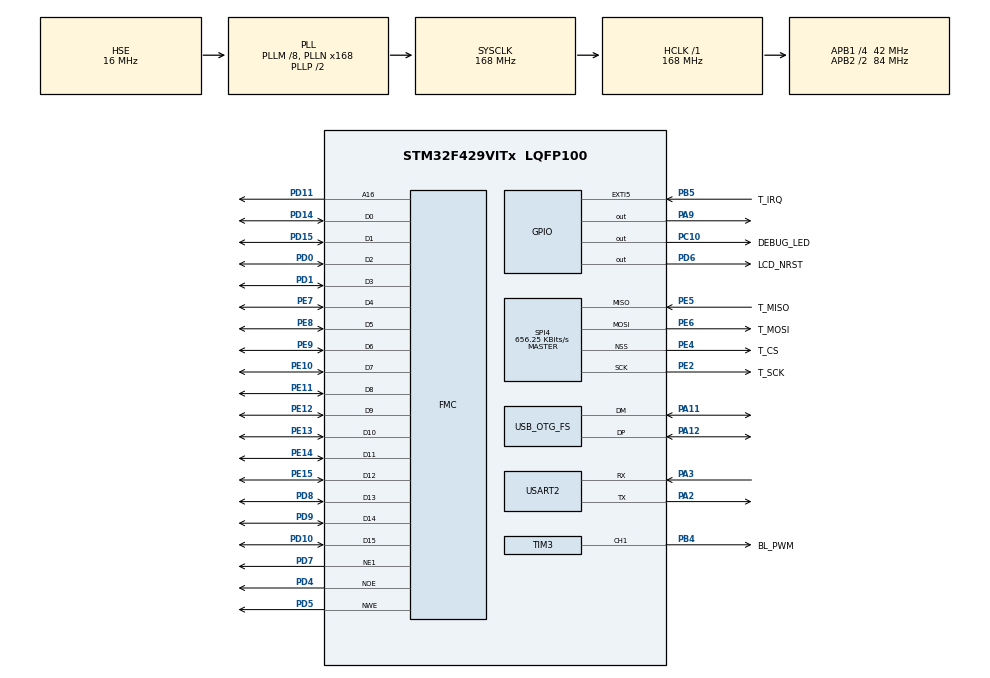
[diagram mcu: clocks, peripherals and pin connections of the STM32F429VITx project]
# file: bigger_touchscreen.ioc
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FMC.AddressSetupTime1=3
FMC.BusTurnAroundDuration1=2
FMC.DataSetupTime1=2
Mcu.Family=STM32F4
Mcu.Name=STM32F429VITx
Mcu.Package=LQFP100
NVIC.EXTI9_5_IRQn=true\:0\:0\:false\:false\:true\:true\:true\:true
NVIC.OTG_FS_IRQn=true\:0\:0\:false\:false\:true\:false\:true\:true
NVIC.PriorityGroup=NVIC_PRIORITYGROUP_4
PA11.Mode=Host_Only
PA11.Signal=USB_OTG_FS_DM
PA12.Mode=Host_Only
PA12.Signal=USB_OTG_FS_DP
PA13.Mode=Trace_Asynchronous_SW
PA13.Signal=SYS_JTMS-SWDIO
PA14.Mode=Trace_Asynchronous_SW
PA14.Signal=SYS_JTCK-SWCLK
PA2.Mode=Asynchronous
PA2.Signal=USART2_TX
PA3.Mode=Asynchronous
PA3.Signal=USART2_RX
PA9.Signal=GPIO_Output
PB12.Signal=SPI2_NSS
PB13.Signal=SPI2_SCK
PB14.Signal=SPI2_MISO
PB15.Signal=SPI2_MOSI
PB3.Mode=Trace_Asynchronous_SW
PB3.Signal=SYS_JTDO-SWO
PB4.GPIO_Label=BL_PWM
PB4.Signal=S_TIM3_CH1
PB5.GPIO_Label=T_IRQ
PB5.Signal=GPXTI5
PC10.GPIO_Label=DEBUG_LED
PC10.Signal=GPIO_Output
PD0.Mode=16b-d1
PD0.Signal=FMC_D2
PD1.Mode=16b-d1
PD1.Signal=FMC_D3
PD10.Mode=16b-d1
PD10.Signal=FMC_D15
PD11.Mode=A16_1
PD11.Signal=FMC_A16
PD14.Mode=16b-d1
PD14.Signal=FMC_D0
PD15.Mode=16b-d1
PD15.Signal=FMC_D1
PD4.Mode=Lcd1
PD4.Signal=FMC_NOE
PD5.Mode=Lcd1
PD5.Signal=FMC_NWE
PD6.GPIO_Label=LCD_NRST
PD6.Signal=GPIO_Output
PD7.Mode=NorPsramChipSelect1_1
PD7.Signal=FMC_NE1
PD8.Mode=16b-d1
PD8.Signal=FMC_D13
PD9.Mode=16b-d1
PD9.Signal=FMC_D14
PE10.Mode=16b-d1
PE10.Signal=FMC_D7
PE11.Mode=16b-d1
PE11.Signal=FMC_D8
PE12.Mode=16b-d1
PE12.Signal=FMC_D9
PE13.Mode=16b-d1
PE13.Signal=FMC_D10
PE14.Mode=16b-d1
PE14.Signal=FMC_D11
PE15.Mode=16b-d1
PE15.Signal=FMC_D12
PE2.GPIO_Label=T_SCK
PE2.Mode=Full_Duplex_Master
PE2.Signal=SPI4_SCK
PE4.GPIO_Label=T_CS
PE4.Mode=NSS_Signal_Hard_Output
PE4.Signal=SPI4_NSS
PE5.GPIO_Label=T_MISO
PE5.Mode=Full_Duplex_Master
PE5.Signal=SPI4_MISO
PE6.GPIO_Label=T_MOSI
PE6.Mode=Full_Duplex_Master
PE6.Signal=SPI4_MOSI
PE7.Mode=16b-d1
PE7.Signal=FMC_D4
PE8.Mode=16b-d1
PE8.Signal=FMC_D5
PE9.Mode=16b-d1
PE9.Signal=FMC_D6
PH0/OSC_IN.Mode=HSE-External-Oscillator
PH0/OSC_IN.Signal=RCC_OSC_IN
PH1/OSC_OUT.Mode=HSE-External-Oscillator
PH1/OSC_OUT.Signal=RCC_OSC_OUT
ProjectManager.HeapSize=0x200
ProjectManager.StackSize=0x400
ProjectManager.TargetToolchain=STM32CubeIDE
RCC.48MHZClocksFreq_Value=48000000
RCC.AHBFreq_Value=168000000
RCC.APB1CLKDivider=RCC_HCLK_DIV4
RCC.APB1Freq_Value=42000000
RCC.APB1TimFreq_Value=84000000
RCC.APB2CLKDivider=RCC_HCLK_DIV2
RCC.APB2Freq_Value=84000000
RCC.APB2TimFreq_Value=168000000
RCC.CortexFreq_Value=168000000
RCC.HCLKFreq_Value=168000000
RCC.HSE_VALUE=16000000
RCC.HSI_VALUE=16000000
RCC.LSE_VALUE=32768
RCC.PLLM=8
RCC.PLLN=168
RCC.PLLQ=7
RCC.SYSCLKFreq_VALUE=168000000
RCC.SYSCLKSource=RCC_SYSCLKSOURCE_PLLCLK
RCC.VCOOutputFreq_Value=336000000
SH.S_TIM3_CH1.0=TIM3_CH1,PWM Generation1 CH1
SPI4.BaudRatePrescaler=SPI_BAUDRATEPRESCALER_128
SPI4.CalculateBaudRate=656.25 KBits/s
SPI4.Direction=SPI_DIRECTION_2LINES
SPI4.Mode=SPI_MODE_MASTER
SPI4.VirtualNSS=VM_NSSHARD
SPI4.VirtualType=VM_MASTER
TIM3.Channel-PWM\ Generation1\ CH1=TIM_CHANNEL_1
TIM3.Period=100
TIM3.Prescaler=168-1
USART2.VirtualMode=VM_ASYNC
USB_HOST.BSP.number=1
USB_HOST.SW_VBUS_DRIVE_HID_FS=false
USB_HOST.USBH_DEBUG_LEVEL-HID_FS=3
USB_HOST.USBH_HandleTypeDef-HID_FS=hUsbHostFS
USB_HOST.VirtualModeFS=Hid
USB_HOST0.BSP.STBoard=false
USB_HOST0.BSP.api=Unknown
USB_HOST0.BSP.condition=SW_VBUS_DRIVE_HID_FS \= false
USB_HOST0.BSP.instance=PA9
USB_HOST0.BSP.ip=GPIO
USB_HOST0.BSP.mode=Output
USB_HOST0.BSP.name=Drive_VBUS_FS
USB_HOST0.BSP.solution=PA9
USB_OTG_FS.VirtualMode=Host_Only
USB_OTG_FS.phy_itface=HCD_PHY_EMBEDDED
VP_USB_HOST_VS_USB_HOST_HID_FS.Mode=HID_FS
board=custom

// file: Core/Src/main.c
/* USER CODE BEGIN Header */
/**
 ******************************************************************************
 * @file           : main.c
 * @brief          : Main program body
 ******************************************************************************
 * @attention
 *
 * Copyright (c) 2025 STMicroelectronics.
 * All rights reserved.
 *
 * This software is licensed under terms that can be found in the LICENSE file
 * in the root directory of this software component.
 * If no LICENSE file comes with this software, it is provided AS-IS.
 *
 ******************************************************************************
 */
/* USER CODE END Header */
#include "main.h"
#include "usb_host.h"

/* USER CODE BEGIN Includes */
#include "usbh_hid.h"
#include "stdio.h"
#include "ili9341.h"
#include "XPT2046_touch.h"
/* USER CODE END Includes */

/* USER CODE BEGIN PD */
/**** TOUCHSCREEN DEFINITIONS *****/
#define TS_LEFT 0
#define TS_RIGHT 320
#define TS_TOP 0
#define TS_BOT 240

/***** USB DEFINITIONS *****/
#define NULL_CHAR 0
#define SOH 1
#define NEWLINE_CHAR 10   //the '/r' in python is detected as a newline (10).
#define CARRIAGE_CHAR 13  //the '\n' is just ignored
#define TAB 9
#define TRASH 0xFF

/******** Flash Memory ********/
#define SECTOR_5      ((uint32_t)0x08020000) /* Base @ of Sector 5, 128 Kbytes */
#define SECTOR_6      ((uint32_t)0x08040000) /* Base @ of Sector 6, 128 Kbytes */
#define SECTOR_7      ((uint32_t)0x08060000) /* Base @ of Sector 7, 128 Kbytes */
#define SECTOR_8      ((uint32_t)0x08080000) /* Base @ of Sector 8, 128 Kbytes */
#define SECTOR_9      ((uint32_t)0x080A0000) /* Base @ of Sector 9, 128 Kbytes */
#define SECTOR_10     ((uint32_t)0x080C0000) /* Base @ of Sector 10, 128 Kbytes */
#define SECTOR_11     ((uint32_t)0x080E0000) /* Base @ of Sector 11, 128 Kbytes */
#define SECTOR_17     ((uint32_t)0x08120000) /* Base @ of Sector 5, 128 Kbytes */
#define SECTOR_18     ((uint32_t)0x08140000) /* Base @ of Sector 6, 128 Kbytes */
#define SECTOR_19     ((uint32_t)0x08160000) /* Base @ of Sector 7, 128 Kbytes */
#define SECTOR_20     ((uint32_t)0x08180000) /* Base @ of Sector 8, 128 Kbytes  */
#define SECTOR_21     ((uint32_t)0x081A0000) /* Base @ of Sector 9, 128 Kbytes  */
#define SECTOR_22     ((uint32_t)0x081C0000) /* Base @ of Sector 10, 128 Kbytes */
#define SECTOR_23     ((uint32_t)0x081E0000) /* Base @ of Sector 11, 128 Kbytes */

/***** FLASH MEMORY DEFINITIONS *****/
#define NUMBER_OF_SECTORS 14
#define MAX_PROTOCOLS_IN_SECTOR 3
#define PROTOCOL_SIZE 6000
#define MAX_LINES 200
#define MAX_LINE_LENGTH 32 //for linear movement it wont be more than 32 chars
#define MAX_TITLE_SIZE 12  //you can 10 chars, but also we need newline and null

/******** LCD DISPLAY DEFINITIONS ********/
#define BUTTON_WIDTH 160
#define BUTTON_HEIGHT 40
#define NUM_BUTTONS 3
#define Y_OFFSET 20
#define SCREEN_DELAY 50
#define MAX_QUEUE_SIZE 10

/* USER CODE END PD */

SPI_HandleTypeDef hspi4;

TIM_HandleTypeDef htim3;

UART_HandleTypeDef huart2;

SRAM_HandleTypeDef hsram1;

/* USER CODE BEGIN PV */

typedef enum {
	PAGE_MAIN, PAGE_SELECT, PAGE_QUEUE, PAGE_CONFIRMATION, PAGE_FINISH
} PageState;
PageState currentPage = PAGE_MAIN;

typedef enum {
	EMPTY = 0, NOT_EMPTY = 1
} ButtonStatus;

typedef struct {
	uint16_t x, y, w, h;
	char label[MAX_LINE_LENGTH];
	ButtonStatus status;
} Button;

Button buttons[NUM_BUTTONS] = { { 80, 50, BUTTON_WIDTH, BUTTON_HEIGHT,
		"Protocol 1", EMPTY }, { 80, 110, BUTTON_WIDTH, BUTTON_HEIGHT,
		"Protocol 2", EMPTY }, { 80, 170, BUTTON_WIDTH, BUTTON_HEIGHT,
		"Protocol 3", EMPTY } };

Button queueButton = { 240, 0, 80, 30, "Queue" }; //x, y, w, h, label
Button runButton = { 260, 200, 60, 40, "Run" };
Button confirmButton = { 100, 120, 120, 40, "Confirm" };
Button queueSelectButton = { 110, 50, 100, 40, "Queue" }; //x, y, w, h, label
Button selectButton = { 110, 110, 100, 40, "Run" };
Button deleteButton = { 110, 170, 100, 40, "Delete" };
Button backButton = { 0, 205, 60, 40, "Back" }; //x, y, w, h, label
Button nextButton = { 260, 205, 60, 40, "Next" };

/* USER CODE END PV */

void SystemClock_Config(void);
static void MX_GPIO_Init(void);
static void MX_FMC_Init(void);
static void MX_TIM3_Init(void);
static void MX_SPI4_Init(void);
static void MX_USART2_UART_Init(void);
void MX_USB_HOST_Process(void);

/* USER CODE BEGIN PFP */
void output_protocol(char line[MAX_LINES][MAX_LINE_LENGTH], int lines);

/****TOUCHSCREEN PRIVATE FUNCTIONS*******/
void erase_sector(uint32_t Sector);
void write_to_flash(const char *data, uint32_t flash_address);
uint8_t read_from_flash(char *output, uint32_t flash_address);
uint8_t storeProtocol(char gcode_file[MAX_LINES][MAX_LINE_LENGTH],
		uint32_t sector);
uint32_t sector_mapping(uint32_t sector);
uint8_t get_num_protocols_in_sector(uint32_t sector);
uint8_t get_num_lines_in_protocol(char protocol[MAX_LINES][MAX_LINE_LENGTH]);
uint8_t getFreeSector(void);
void transmitProtocol(uint32_t sector, uint32_t offset);
void queueProtocol(uint32_t sector, uint32_t offset);
void transmitQueuedProtocols(uint8_t queueSize);
uint32_t get_sector_address(uint32_t sector);
void write_number_to_flash(uint32_t flash_address, uint32_t number);
void DrawQueuePage(uint8_t queueSize);
void Touch_Init(void);
uint8_t HandleTouch(void);
void DrawMainPage(uint8_t page_num);
void DrawInfoPage(char protocolTitle[MAX_LINE_LENGTH]);
void DrawConfirmationPage(uint32_t sector, uint32_t offset);
uint8_t handleTouch();
/* USER CODE END PFP */

/* USER CODE BEGIN 0 */
int _write(int file, char *ptr, int len) {
	for (int i = 0; i < len; i++) {
		ITM_SendChar((*ptr++));  // Send the character via ITM
	}
	return len;
}

uint8_t count = 0;
static uint8_t touchFlag = 0;
static uint8_t page_num = 1;

int i = 0;
int j = 0;
static char queueBuffer[MAX_QUEUE_SIZE][MAX_LINES][MAX_LINE_LENGTH];
static uint8_t queueSize = 0;
static uint8_t pageNum = 1;
static uint8_t USB_BUSY = 0;
char qr_code_data[MAX_LINES][MAX_LINE_LENGTH] = { { '\0' } }; //static initializes strings with all null characters
HID_KEYBD_Info_TypeDef *Keyboard_Info;

/***DORJEE YOU HAVE TO CHANGE USBH_HID.H WHEN YOU GENERATE CODE****/
void USBH_HID_EventCallback(USBH_HandleTypeDef *phost) { //2.6s for 54 lines
	Keyboard_Info = USBH_HID_GetKeybdInfo(phost);
	char key = USBH_HID_GetASCIICode(Keyboard_Info);
	printf("%c\n", key);
	//disable the touchscreen interrupt functionality when usb transmission starts
	//after tab it calls itself one more time, so disable after i=0
	if (i == 1) {
		USB_BUSY = 1;
	}

	//store incoming chars. ignore null characters that come in for some reason
	if ((key != NULL_CHAR) && (key != SOH)) {
		qr_code_data[i][j] = key;
		j++;
	}
	//handle new line
	if (key == NEWLINE_CHAR) {
		j = 0;
		i++;
	}
	//tab is the end of the qr code
	if (key == TAB) {
		for (int a = 0; a < 15; a++) {
			//printf("%s", qr_code_data[a]);
		}
		__disable_irq();
		//output_protocol(qr_code_data, i + 1);
		//check if the title is (10 chars + newline char) or less
		if (strlen(qr_code_data[0]) < (MAX_TITLE_SIZE + 1)) {
			uint8_t freeSectorNumber = getFreeSector();
			//printf("free sector is %d\n", freeSectorNumber);
			//only store the protocol if all memory isnt full
			if (freeSectorNumber <= 10) { //i only got 10 pages rn
				//printf("why\n");
				storeProtocol(qr_code_data, freeSectorNumber);
				//go to the page num the new protocol is on
				pageNum = freeSectorNumber;
				DrawMainPage(pageNum);
				currentPage = PAGE_MAIN;
				for (int a = 0; a < MAX_LINES; a++) {
					for (int b = 0; b < MAX_LINE_LENGTH; b++) {
						qr_code_data[a][b] = '\0';
					}
				}
			}
			__enable_irq();
			USB_BUSY = 0;
		}
		i = 0;
		j = 0;
	}

}
/* USER CODE END 0 */

int main(void)
{

  /* USER CODE BEGIN 1 */

	//printf("Hello\n");
  /* USER CODE END 1 */

  /* MCU Configuration--------------------------------------------------------*/

  /* Reset of all peripherals, Initializes the Flash interface and the Systick. */
  HAL_Init();

  /* Configure the system clock */
  SystemClock_Config();

  /* Initialize all configured peripherals */
  MX_GPIO_Init();
  MX_FMC_Init();
  MX_TIM3_Init();
  MX_SPI4_Init();
  MX_USB_HOST_Init();
  MX_USART2_UART_Init();
  /* USER CODE BEGIN 2 */

//  	erase_sector(1);
//  	erase_sector(2);
//  	erase_sector(3);
//  	erase_sector(4);
//  	erase_sector(5);
//  	erase_sector(6);
//  	erase_sector(7);
//  	erase_sector(8);
//  	erase_sector(9);
//  	erase_sector(10);

	HAL_GPIO_WritePin(LCD_NRST_GPIO_Port, LCD_NRST_Pin, GPIO_PIN_SET);
	HAL_Delay(50);
	HAL_GPIO_WritePin(LCD_NRST_GPIO_Port, LCD_NRST_Pin, GPIO_PIN_SET);
	HAL_Delay(50);

	HAL_TIM_PWM_Start(&htim3, TIM_CHANNEL_1);
	htim3.Instance->CCR1 = 50;

	lcdInit();
	//lcdTest();
	lcdSetOrientation(LCD_ORIENTATION_LANDSCAPE);
	DrawMainPage(1);

  /* USER CODE END 2 */

  /* Infinite loop */
	while (1) {
    MX_USB_HOST_Process();

    /* USER CODE BEGIN 3 */
		if (touchFlag) {
			handleTouch();
			touchFlag = 0;
		}
		//HAL_Delay(100);
	}
  /* USER CODE END 3 */
}

void SystemClock_Config(void)
{
  RCC_OscInitTypeDef RCC_OscInitStruct = {0};
  RCC_ClkInitTypeDef RCC_ClkInitStruct = {0};

  /** Configure the main internal regulator output voltage
  */
  __HAL_RCC_PWR_CLK_ENABLE();
  __HAL_PWR_VOLTAGESCALING_CONFIG(PWR_REGULATOR_VOLTAGE_SCALE1);

  /** Initializes the RCC Oscillators according to the specified parameters
  * in the RCC_OscInitTypeDef structure.
  */
  RCC_OscInitStruct.OscillatorType = RCC_OSCILLATORTYPE_HSE;
  RCC_OscInitStruct.HSEState = RCC_HSE_ON;
  RCC_OscInitStruct.PLL.PLLState = RCC_PLL_ON;
  RCC_OscInitStruct.PLL.PLLSource = RCC_PLLSOURCE_HSE;
  RCC_OscInitStruct.PLL.PLLM = 8;
  RCC_OscInitStruct.PLL.PLLN = 168;
  RCC_OscInitStruct.PLL.PLLP = RCC_PLLP_DIV2;
  RCC_OscInitStruct.PLL.PLLQ = 7;
  if (HAL_RCC_OscConfig(&RCC_OscInitStruct) != HAL_OK)
  {
    Error_Handler();
  }

  /** Initializes the CPU, AHB and APB buses clocks
  */
  RCC_ClkInitStruct.ClockType = RCC_CLOCKTYPE_HCLK|RCC_CLOCKTYPE_SYSCLK
                              |RCC_CLOCKTYPE_PCLK1|RCC_CLOCKTYPE_PCLK2;
  RCC_ClkInitStruct.SYSCLKSource = RCC_SYSCLKSOURCE_PLLCLK;
  RCC_ClkInitStruct.AHBCLKDivider = RCC_SYSCLK_DIV1;
  RCC_ClkInitStruct.APB1CLKDivider = RCC_HCLK_DIV4;
  RCC_ClkInitStruct.APB2CLKDivider = RCC_HCLK_DIV2;

  if (HAL_RCC_ClockConfig(&RCC_ClkInitStruct, FLASH_LATENCY_5) != HAL_OK)
  {
    Error_Handler();
  }
}

static void MX_SPI4_Init(void)
{

  /* SPI4 parameter configuration*/
  hspi4.Instance = SPI4;
  hspi4.Init.Mode = SPI_MODE_MASTER;
  hspi4.Init.Direction = SPI_DIRECTION_2LINES;
  hspi4.Init.DataSize = SPI_DATASIZE_8BIT;
  hspi4.Init.CLKPolarity = SPI_POLARITY_LOW;
  hspi4.Init.CLKPhase = SPI_PHASE_1EDGE;
  hspi4.Init.NSS = SPI_NSS_HARD_OUTPUT;
  hspi4.Init.BaudRatePrescaler = SPI_BAUDRATEPRESCALER_128;
  hspi4.Init.FirstBit = SPI_FIRSTBIT_MSB;
  hspi4.Init.TIMode = SPI_TIMODE_DISABLE;
  hspi4.Init.CRCCalculation = SPI_CRCCALCULATION_DISABLE;
  hspi4.Init.CRCPolynomial = 10;
  if (HAL_SPI_Init(&hspi4) != HAL_OK)
  {
    Error_Handler();
  }

}

static void MX_TIM3_Init(void)
{

  TIM_MasterConfigTypeDef sMasterConfig = {0};
  TIM_OC_InitTypeDef sConfigOC = {0};

  htim3.Instance = TIM3;
  htim3.Init.Prescaler = 168-1;
  htim3.Init.CounterMode = TIM_COUNTERMODE_UP;
  htim3.Init.Period = 100;
  htim3.Init.ClockDivision = TIM_CLOCKDIVISION_DIV1;
  htim3.Init.AutoReloadPreload = TIM_AUTORELOAD_PRELOAD_DISABLE;
  if (HAL_TIM_PWM_Init(&htim3) != HAL_OK)
  {
    Error_Handler();
  }
  sMasterConfig.MasterOutputTrigger = TIM_TRGO_RESET;
  sMasterConfig.MasterSlaveMode = TIM_MASTERSLAVEMODE_DISABLE;
  if (HAL_TIMEx_MasterConfigSynchronization(&htim3, &sMasterConfig) != HAL_OK)
  {
    Error_Handler();
  }
  sConfigOC.OCMode = TIM_OCMODE_PWM1;
  sConfigOC.Pulse = 0;
  sConfigOC.OCPolarity = TIM_OCPOLARITY_HIGH;
  sConfigOC.OCFastMode = TIM_OCFAST_DISABLE;
  if (HAL_TIM_PWM_ConfigChannel(&htim3, &sConfigOC, TIM_CHANNEL_1) != HAL_OK)
  {
    Error_Handler();
  }
  HAL_TIM_MspPostInit(&htim3);

}

static void MX_USART2_UART_Init(void)
{

  huart2.Instance = USART2;
  huart2.Init.BaudRate = 115200;
  huart2.Init.WordLength = UART_WORDLENGTH_8B;
  huart2.Init.StopBits = UART_STOPBITS_1;
  huart2.Init.Parity = UART_PARITY_NONE;
  huart2.Init.Mode = UART_MODE_TX_RX;
  huart2.Init.HwFlowCtl = UART_HWCONTROL_NONE;
  huart2.Init.OverSampling = UART_OVERSAMPLING_16;
  if (HAL_UART_Init(&huart2) != HAL_OK)
  {
    Error_Handler();
  }

}

/* FMC initialization function */
static void MX_FMC_Init(void)
{

  FMC_NORSRAM_TimingTypeDef Timing = {0};

  /** Perform the SRAM1 memory initialization sequence
  */
  hsram1.Instance = FMC_NORSRAM_DEVICE;
  hsram1.Extended = FMC_NORSRAM_EXTENDED_DEVICE;
  /* hsram1.Init */
  hsram1.Init.NSBank = FMC_NORSRAM_BANK1;
  hsram1.Init.DataAddressMux = FMC_DATA_ADDRESS_MUX_DISABLE;
  hsram1.Init.MemoryType = FMC_MEMORY_TYPE_SRAM;
  hsram1.Init.MemoryDataWidth = FMC_NORSRAM_MEM_BUS_WIDTH_16;
  hsram1.Init.BurstAccessMode = FMC_BURST_ACCESS_MODE_DISABLE;
  hsram1.Init.WaitSignalPolarity = FMC_WAIT_SIGNAL_POLARITY_LOW;
  hsram1.Init.WrapMode = FMC_WRAP_MODE_DISABLE;
  hsram1.Init.WaitSignalActive = FMC_WAIT_TIMING_BEFORE_WS;
  hsram1.Init.WriteOperation = FMC_WRITE_OPERATION_ENABLE;
  hsram1.Init.WaitSignal = FMC_WAIT_SIGNAL_DISABLE;
  hsram1.Init.ExtendedMode = FMC_EXTENDED_MODE_DISABLE;
  hsram1.Init.AsynchronousWait = FMC_ASYNCHRONOUS_WAIT_DISABLE;
  hsram1.Init.WriteBurst = FMC_WRITE_BURST_DISABLE;
  hsram1.Init.ContinuousClock = FMC_CONTINUOUS_CLOCK_SYNC_ONLY;
  hsram1.Init.PageSize = FMC_PAGE_SIZE_NONE;
  /* Timing */
  Timing.AddressSetupTime = 3;
  Timing.AddressHoldTime = 15;
  Timing.DataSetupTime = 2;
  Timing.BusTurnAroundDuration = 2;
  Timing.CLKDivision = 16;
  Timing.DataLatency = 17;
  Timing.AccessMode = FMC_ACCESS_MODE_A;
  /* ExtTiming */

  if (HAL_SRAM_Init(&hsram1, &Timing, NULL) != HAL_OK)
  {
    Error_Handler( );
  }

}

static void MX_GPIO_Init(void)
{
  GPIO_InitTypeDef GPIO_InitStruct = {0};

  /* GPIO Ports Clock Enable */
  __HAL_RCC_GPIOE_CLK_ENABLE();
  __HAL_RCC_GPIOH_CLK_ENABLE();
  __HAL_RCC_GPIOA_CLK_ENABLE();
  __HAL_RCC_GPIOB_CLK_ENABLE();
  __HAL_RCC_GPIOD_CLK_ENABLE();
  __HAL_RCC_GPIOC_CLK_ENABLE();

  /*Configure GPIO pin Output Level */
  HAL_GPIO_WritePin(GPIOA, GPIO_PIN_9, GPIO_PIN_RESET);

  /*Configure GPIO pin Output Level */
  HAL_GPIO_WritePin(DEBUG_LED_GPIO_Port, DEBUG_LED_Pin, GPIO_PIN_RESET);

  /*Configure GPIO pin Output Level */
  HAL_GPIO_WritePin(LCD_NRST_GPIO_Port, LCD_NRST_Pin, GPIO_PIN_RESET);

  /*Configure GPIO pins : PB12 PB13 PB14 PB15 */
  GPIO_InitStruct.Pin = GPIO_PIN_12|GPIO_PIN_13|GPIO_PIN_14|GPIO_PIN_15;
  GPIO_InitStruct.Mode = GPIO_MODE_AF_PP;
  GPIO_InitStruct.Pull = GPIO_NOPULL;
  GPIO_InitStruct.Speed = GPIO_SPEED_FREQ_VERY_HIGH;
  GPIO_InitStruct.Alternate = GPIO_AF5_SPI2;
  HAL_GPIO_Init(GPIOB, &GPIO_InitStruct);

  /*Configure GPIO pin : PA9 */
  GPIO_InitStruct.Pin = GPIO_PIN_9;
  GPIO_InitStruct.Mode = GPIO_MODE_OUTPUT_PP;
  GPIO_InitStruct.Pull = GPIO_NOPULL;
  GPIO_InitStruct.Speed = GPIO_SPEED_FREQ_LOW;
  HAL_GPIO_Init(GPIOA, &GPIO_InitStruct);

  /*Configure GPIO pin : DEBUG_LED_Pin */
  GPIO_InitStruct.Pin = DEBUG_LED_Pin;
  GPIO_InitStruct.Mode = GPIO_MODE_OUTPUT_PP;
  GPIO_InitStruct.Pull = GPIO_NOPULL;
  GPIO_InitStruct.Speed = GPIO_SPEED_FREQ_LOW;
  HAL_GPIO_Init(DEBUG_LED_GPIO_Port, &GPIO_InitStruct);

  /*Configure GPIO pin : LCD_NRST_Pin */
  GPIO_InitStruct.Pin = LCD_NRST_Pin;
  GPIO_InitStruct.Mode = GPIO_MODE_OUTPUT_PP;
  GPIO_InitStruct.Pull = GPIO_NOPULL;
  GPIO_InitStruct.Speed = GPIO_SPEED_FREQ_LOW;
  HAL_GPIO_Init(LCD_NRST_GPIO_Port, &GPIO_InitStruct);

  /*Configure GPIO pin : T_IRQ_Pin */
  GPIO_InitStruct.Pin = T_IRQ_Pin;
  GPIO_InitStruct.Mode = GPIO_MODE_IT_RISING;
  GPIO_InitStruct.Pull = GPIO_NOPULL;
  HAL_GPIO_Init(T_IRQ_GPIO_Port, &GPIO_InitStruct);

  /* EXTI interrupt init*/
  HAL_NVIC_SetPriority(EXTI9_5_IRQn, 0, 0);
  HAL_NVIC_EnableIRQ(EXTI9_5_IRQn);

}

/* USER CODE BEGIN 4 */

/**
 * @brief: Draw main page and handle button label and status updates
 * @param: page_num: determines which page should be drawn from 1-10
 * @retval: none
 */
void DrawMainPage(uint8_t page_num) {
	//Draw "Protocol Title" box
	lcdFillRGB(COLOR_WHITE);
	char empty[20] = "Empty\n"; //strings from flash memory come with newline at end
	char pageTitle[20] = "";
	sprintf(pageTitle, "Page %d", page_num);
	lcdSetCursor(10, 10);
	lcdSetTextColor(COLOR_BLACK, COLOR_WHITE);
	lcdSetTextFont(&Font20);
	lcdPrintf(pageTitle);
	lcdSetTextFont(&Font16);

	//get button label info from flash memory
	char readBuffer1[MAX_LINE_LENGTH] = ""; //initialize with nulls
	char readBuffer2[MAX_LINE_LENGTH] = ""; //initialize with nulls
	char readBuffer3[MAX_LINE_LENGTH] = ""; //initialize with nulls

	//if the protocol exists, read from it. else, name it empty
	if (read_from_flash(readBuffer1, get_sector_address(page_num))) {
		strcpy(buttons[0].label, readBuffer1);
		buttons[0].status = NOT_EMPTY;
	} else {
		strcpy(buttons[0].label, empty);
		buttons[0].status = EMPTY;
	}
	if (read_from_flash(readBuffer2,
			get_sector_address(page_num) + PROTOCOL_SIZE)) {
		strcpy(buttons[1].label, readBuffer2);
		buttons[1].status = NOT_EMPTY;
	} else {
		strcpy(buttons[1].label, empty);
		buttons[1].status = EMPTY;
	}
	if (read_from_flash(readBuffer3,
			get_sector_address(page_num) + 2 * PROTOCOL_SIZE)) {
		strcpy(buttons[2].label, readBuffer3);
		buttons[2].status = NOT_EMPTY;
	} else {
		strcpy(buttons[2].label, empty);
		buttons[2].status = EMPTY;
	}

	// Draw buttons
	for (int i = 0; i < NUM_BUTTONS; i++) {
		lcdDrawRect(buttons[i].x, buttons[i].y, buttons[i].w, buttons[i].h,
		COLOR_BLACK);
		buttons[i].label[strlen(buttons[i].label) - 1] = ' '; //dont display null terminator
		lcdSetCursor(buttons[i].x + 10, buttons[i].y + 10);
		if (buttons[i].status == EMPTY) {
			lcdPrintf("EMPTY");
		} else {
			lcdPrintf(buttons[i].label);
		}
	}

	// Draw "Next" button
	if (page_num != 10) {
		//BSP_LCD_SetTextColor(LCD_COLOR_RED);
		lcdDrawRect(nextButton.x, nextButton.y, nextButton.w, nextButton.h,
		COLOR_BLACK);
		lcdSetCursor(nextButton.x + 5, nextButton.y + 5);
		lcdPrintf(nextButton.label);
	}

	// Draw "Back" button
	if (page_num != 1) {
		lcdDrawRect(backButton.x, backButton.y, backButton.w, backButton.h,
		COLOR_BLACK);
		lcdSetCursor(backButton.x + 5, backButton.y + 5);
		lcdPrintf(backButton.label);
	}
//
	//draw "Queue" button on page 1

	if (page_num == 1) {
		lcdDrawRect(queueButton.x, queueButton.y, queueButton.w,
				queueButton.h,
		COLOR_BLACK);
		lcdSetCursor(queueButton.x + 5, queueButton.y + 5);
		lcdPrintf(queueButton.label);
	}
}

void DrawInfoPage(char protocolTitle[MAX_LINE_LENGTH]) {
	lcdFillRGB(COLOR_WHITE);
	//Display protocol name at top of screen
	lcdSetCursor(90, 10);
	lcdSetTextFont(&Font20);
	lcdPrintf(protocolTitle);
	lcdSetTextFont(&Font16);

	//Draw "QueueSelect" button on select page
	lcdDrawRect(queueSelectButton.x, queueSelectButton.y, queueSelectButton.w,
			queueSelectButton.h, COLOR_BLACK);
	lcdSetCursor(queueSelectButton.x + 10, queueSelectButton.y + 10);
	lcdPrintf(queueSelectButton.label);

	//Draw "Select" button
	lcdDrawRect(selectButton.x, selectButton.y, selectButton.w, selectButton.h,
	COLOR_BLACK);
	lcdSetCursor(selectButton.x + 10, selectButton.y + 10);
	lcdPrintf(selectButton.label);

	//Draw "Delete" button
	lcdDrawRect(deleteButton.x, deleteButton.y, deleteButton.w, deleteButton.h,
	COLOR_BLACK);
	lcdSetCursor(deleteButton.x + 10, deleteButton.y + 10);
	lcdPrintf(deleteButton.label);

	// Draw "Back" button
	lcdDrawRect(backButton.x, backButton.y, backButton.w, backButton.h,
	COLOR_BLACK);
	lcdSetCursor(backButton.x + 10, backButton.y + 10);
	lcdPrintf(backButton.label);
}

void DrawConfirmationPage(uint32_t sector, uint32_t offset) {
	lcdFillRGB(COLOR_WHITE);

	//display confirmation text
	lcdSetCursor(10, 10);
	lcdSetTextFont(&Font20);
	lcdPrintf("Delete: ");
	lcdPrintf(buttons[offset].label);
	lcdPrintf("?");
	lcdSetTextFont(&Font16);

	//Draw "Confirm" button
	lcdDrawRect(confirmButton.x, confirmButton.y, confirmButton.w,
			confirmButton.h, COLOR_BLACK);
	lcdSetCursor(confirmButton.x + 10, confirmButton.y + 10);
	lcdPrintf(confirmButton.label);

	// Draw "Back" button
	lcdDrawRect(backButton.x, backButton.y, backButton.w, backButton.h,
	COLOR_BLACK);
	lcdSetCursor(backButton.x + 10, backButton.y + 10);
	lcdPrintf(backButton.label);
}

void DrawQueuePage(uint8_t queueSize) {
	lcdFillRGB(COLOR_WHITE);
	char pageTitle[20] = "";
	sprintf(pageTitle, "Queue Size: %d", queueSize);
	//Display Queue at top of the screen
	lcdSetCursor(60, 10);
	lcdSetTextFont(&Font20);
	lcdPrintf(pageTitle);
	lcdSetTextFont(&Font16);

	//display protocols in queue here
	char format[20] = "";
	int startSpotX, startSpotY;
	for (uint8_t i = 0; i < queueSize; i++) {
		if (i < 5) {
			startSpotX = 10;
			startSpotY = 50;
		} else {
			startSpotX = 160;
			startSpotY = 50 - 100;//convoluted ik
		}
		sprintf(format, "%d.) ", i + 1);
		lcdSetCursor(startSpotX, startSpotY + i * 20);
		lcdSetTextFont(&Font12);
		lcdPrintf(format);
		lcdSetTextFont(&Font16);
		lcdSetCursor(startSpotX + 24, startSpotY + i * 20);
		lcdPrintf(queueBuffer[i][0]);

	}

	//Draw "Run" button
	lcdDrawRect(runButton.x, runButton.y, runButton.w, runButton.h,
	COLOR_BLACK);
	lcdSetCursor(runButton.x + 10, runButton.y + 10);
	lcdPrintf(runButton.label);

	// Draw "Back" button
	lcdDrawRect(backButton.x, backButton.y, backButton.w, backButton.h,
	COLOR_BLACK);
	lcdSetCursor(backButton.x + 10, backButton.y + 10);
	lcdPrintf(backButton.label);
}

void DrawPageFinish() {
	lcdFillRGB(COLOR_WHITE);

	//Draw "Success!" box
	lcdSetCursor(selectButton.x + 10, selectButton.y + 10);
	lcdPrintf("Success!");

	// Draw "Back" button
	lcdDrawRect(backButton.x, backButton.y, backButton.w, backButton.h,
	COLOR_BLACK);
	lcdSetCursor(backButton.x + 10, backButton.y + 10);
	lcdPrintf("Done");
}

uint8_t handleTouch() {
	static uint8_t protocol_num;
	static uint8_t protocol_offset = 0;
	uint16_t x = 0, y = 0;
	if (!XPT2046_TouchGetCoordinates(&x, &y)) {
		return 0;
	}
	//map the x coordinate to be left is 0. also slight offset
	x = (TS_RIGHT - x) - 0;
	printf("%d, %d\n", x, y);

	switch (currentPage) {
	case PAGE_MAIN:
		//next button
		if ((x > nextButton.x) && (x < nextButton.x + nextButton.w)
				&& (y > nextButton.y) && (y < nextButton.y + nextButton.h)
				&& (page_num != 10)) {
			//printf("touched\n");
			page_num++;
			DrawMainPage(page_num);
		}
		//back button
		if ((x > backButton.x) && (x < backButton.x + backButton.w)
				&& (y > backButton.y) && (y < backButton.y + backButton.h)
				&& (page_num != 1)) {
			//printf("touched\n");
			page_num--;
			DrawMainPage(page_num);
		}
		//queue button
		if (x >= queueButton.x
				&& x <= (queueButton.x + queueButton.w)
				&& y >= queueButton.y
				&& y <= (queueButton.y + queueButton.h)
				&& (page_num == 1)) {
			DrawQueuePage(queueSize);
			currentPage = PAGE_QUEUE;
		}
		//three protocol buttons
		for (int i = 0; i < NUM_BUTTONS; i++) {
			if (x >= buttons[i].x && x <= (buttons[i].x + buttons[i].w)
					&& y >= buttons[i].y
					&& y <= (buttons[i].y + buttons[i].h)) {
				//check which button has been pressed
				if (i == 0) {
					protocol_num = 1;
					protocol_offset = 0;
				} else if (i == 1) {
					protocol_num = 1;
					protocol_offset = 1;
				} else if (i == 2) {
					protocol_num = 1;
					protocol_offset = 2;
				}
				//dont draw next page if the button says "Empty"
				if (buttons[i].status == NOT_EMPTY) {
					currentPage = PAGE_SELECT;
					DrawInfoPage(buttons[i].label);
				}
				HAL_Delay(100); //delay between switch to select page
			}
		}
		break;

	case PAGE_SELECT:
		//back button
		if (x >= backButton.x && x <= (backButton.x + backButton.w)
				&& y >= backButton.y && y <= (backButton.y + backButton.h)) {
			currentPage = PAGE_MAIN;
			DrawMainPage(pageNum);
		}
		//queueSelect button
		if (x >= queueSelectButton.x
				&& x <= (queueSelectButton.x + queueSelectButton.w)
				&& y >= queueSelectButton.y
				&& y <= (queueSelectButton.y + queueSelectButton.h)) {
			//store the protocol in queueBuffer
			if (queueSize < MAX_QUEUE_SIZE) {
				queueProtocol(pageNum, protocol_offset);
				queueSize++;
				currentPage = PAGE_QUEUE;
				DrawQueuePage(queueSize);
			} else {
				//handle queue buffer being full
			}
		}
		//select button
		if (x >= selectButton.x && x <= (selectButton.x + selectButton.w)
				&& y >= selectButton.y
				&& y <= (selectButton.y + selectButton.h)) {
			//transmit protocol and move to finish page
			transmitProtocol(pageNum, protocol_offset);
			currentPage = PAGE_FINISH;
			DrawPageFinish();
		}
		//delete button
		if (x >= deleteButton.x && x <= (deleteButton.x + deleteButton.w)
				&& y >= deleteButton.y
				&& y <= (deleteButton.y + deleteButton.h)) {
			//move to delete confirmation page
			currentPage = PAGE_CONFIRMATION;
			DrawConfirmationPage(pageNum, protocol_offset);
		}
		break;

	case PAGE_QUEUE:
		//back button
		if (x >= backButton.x && x <= (backButton.x + backButton.w)
				&& y >= backButton.y && y <= (backButton.y + backButton.h)) {
			currentPage = PAGE_MAIN;
			DrawMainPage(pageNum);
		}
		//run button
		if (x >= runButton.x && x <= (runButton.x + runButton.w)
				&& y >= runButton.y && y <= (runButton.y + runButton.h)) {
			//handle queue functionality here dorjee
			transmitQueuedProtocols(queueSize);
			queueSize = 0;
			currentPage = PAGE_FINISH;
			DrawPageFinish();
		}
		break;

	case PAGE_CONFIRMATION:
		//back button
		if (x >= backButton.x && x <= (backButton.x + backButton.w)
				&& y >= backButton.y && y <= (backButton.y + backButton.h)) {
			currentPage = PAGE_SELECT;
			DrawInfoPage(buttons[protocol_offset].label);
		}
		//confirm button
		if (x >= confirmButton.x && x <= (confirmButton.x + confirmButton.w)
				&& y >= confirmButton.y
				&& y <= (confirmButton.y + confirmButton.h)) {
			//delete protocol and go back to main page
			deleteProtocol(pageNum, protocol_offset);
			currentPage = PAGE_MAIN;
			DrawMainPage(pageNum);
		}
		break;

	case PAGE_FINISH:
		if (x >= backButton.x && x <= (backButton.x + backButton.w)
				&& y >= backButton.y && y <= (backButton.y + backButton.h)) {
			currentPage = PAGE_MAIN;
			DrawMainPage(pageNum);
		}
		break;
	}

	HAL_Delay(SCREEN_DELAY); //debouncing delay
	return 1;
}

/******************** Flash Memory ********************/

/**
 * @brief: Erase the memory from an entire sector
 * @param Sector: The sector number
 * @retval: none
 */
void erase_sector(uint32_t Sector) {
	HAL_FLASH_Unlock();  // Unlock flash to enable erasing
	FLASH_Erase_Sector(sector_mapping(Sector), VOLTAGE_RANGE_3);
	HAL_FLASH_Lock();  // Lock flash after erasing
}

/**
 * @brief: Write a string to flash memory
 * @param data: string to be stored in flash memory
 * @param flash_address: address of string in flash memory that will be stored
 * @retval: none
 * Note: PLEASE UNLOCK AND LOCK FLASH BEFORE AND AFTER USING THIS FUNCTION,
 * IT DOES NOT DO IT ITSELF
 */
void write_to_flash(const char *data, uint32_t flash_address) {
	//HAL_FLASH_Unlock();  // Unlock flash for writing

	for (uint8_t i = 0; i < strlen(data); i++) {
		//printf("%c", data[i]);
		HAL_FLASH_Program(FLASH_TYPEPROGRAM_BYTE, flash_address + i, data[i]); // Write to flash
	}

	//HAL_FLASH_Lock();  // Lock flash after writing
}

/**
 * @brief: Read a string from flash memory. If failure, don't read
 * @param output: store the string in an output to be used
 * @param flash_address: address of string in flash memory that will be read
 * @retval: failure if its reading trash from flash memory.
 * it literally does not read from flash btw if it detects 0xFF at the start
 * that means your output buffer will not be updated
 */
uint8_t read_from_flash(char *output, uint32_t flash_address) {
	// Read byte by byte from flash memory, get a whole string in output variable
	for (uint8_t i = 0; i < MAX_LINE_LENGTH; i++) {
		char key = *(char*) (flash_address + i);
		//check if reading trash (0xFF) from flash memory
		if (key == 0xFF) {
			if (i == 0) {
				return 0;
			}
		} else {
			output[i] = key;
		}
	}
	output[strlen(output)] = '\0'; //add null to the end of string for printing
	//printf("output is %s and strlen: %d\n", output, strlen(output));

	//error handling. G-codes are less than 32 chars, anything more is trash
	if (strlen(output) < MAX_LINE_LENGTH) {
		return 1;
	} else {
		return 0;
	}

}

/**
 * @brief: Store array of G-code commands (protocol) into flash memory
 * @param num: number of G-code commands to store
 * @param gcode_file: array of G-code commands
 * @param sector: which sector to store protocol in
 * @retval: failure if sector is "full"
 */
uint8_t storeProtocol(char new_protocol[MAX_LINES][MAX_LINE_LENGTH],
		uint32_t sector) {

	//initialize variables
	int i = 0;  //protocol index
	int j = 0;  //line index
	char protocolStorage[MAX_PROTOCOLS_IN_SECTOR][MAX_LINES][MAX_LINE_LENGTH] =
			{ { { '\0' } } };
	uint32_t flash_address = get_sector_address(sector);

	//check if all sectors are full before storing a protocol
	uint8_t num_protocols = get_num_protocols_in_sector(sector);
	if (num_protocols == MAX_PROTOCOLS_IN_SECTOR) {
		return 0;
	}

	//read existing protocols in sector and put into the temp protocol storage
	for (i = 0; i < num_protocols; i++) {
		for (j = 0; j < MAX_LINES; j++) {
			//get the address for the current line in the current protocol
			uint32_t temp_address = flash_address + i * PROTOCOL_SIZE
					+ j * MAX_LINE_LENGTH;
			//read lines from memory into buffer until you reach garbage
			read_from_flash(protocolStorage[i][j], temp_address); //only updates protocolStorage if its a valid line from memory
		}
	}
	//output: we now have the existing protocols in the buffer.
	//they only have their first number of lines in. the rest of lines are null

	//put the new protocol into the temp protocol storage
	for (j = 0; j < MAX_LINES; j++) {
		//copy each line into the buffer from new protocol, should be null terminated from qr scanner
		if (new_protocol[j][0] != '\0') {
			strcpy(protocolStorage[i][j], new_protocol[j]);
		}
	}
	//we now have the new protocol in the buffer.
	//it only has the first number of lines in. the rest of lines are null

	//write existing protocols and new protocol to flash memory, string-by-string
	erase_sector(sector); //erase sector before writing
	HAL_FLASH_Unlock(); // Unlock flash for writing. note: the erase_sector() unlocks and locks itself
	for (i = 0; i < (num_protocols + 1); i++) {
		for (j = 0; j < MAX_LINES; j++) {
			//if first character of a line is null from qr scanner or trash from flash, ignore it
			if ((new_protocol[j][0] != '\0') && (new_protocol[j][0] != 0xFF)) {
				uint32_t temp_address = flash_address + i * PROTOCOL_SIZE
						+ j * MAX_LINE_LENGTH;
				//printf("len: %d and data: %s", strlen(protocolStorage[i][j]), protocolStorage[i][j]);
				write_to_flash(protocolStorage[i][j], temp_address);
			}
		}
	}
	HAL_FLASH_Lock();  // Unlock flash for writing

	//output:flash memory now has the lines of protocol storage in there
	//the remaining space is still 0xFF in flash
	return 1;
}

//return number of protocols in the sector
uint8_t get_num_protocols_in_sector(uint32_t sector) {
	uint32_t flash_address = get_sector_address(sector);

	uint8_t i = 0;
	for (i = 0; i < MAX_PROTOCOLS_IN_SECTOR; i++) {
		uint8_t first_char = *(uint8_t*) (flash_address + i * PROTOCOL_SIZE);
		//memory in flash is default 0xFF
		if (first_char == 0xFF) {
			return i;
		}
	}
	return i;
}

//check each sector sequentially for any space.
//return the first sector number you find that has space
uint8_t getFreeSector(void) {
	uint8_t i = 1;
	//check every sector starting at 1
	for (i = 1; i < (NUMBER_OF_SECTORS + 1); i++) {
		//check each potential protocol slot in the current sector
		for (uint8_t j = 0; j < MAX_PROTOCOLS_IN_SECTOR; j++) {
			//check first char of the given protocol in the current sector
			uint32_t flash_address = get_sector_address(i) + j * PROTOCOL_SIZE;
			char first_char = *(char*) (flash_address);
			//if memory address is empty, this sector is free
			if (first_char == 0xFF) {
				return i;
			}
		}
	}
	//if somehow all sectors are full, return 15 or higher (16 in this case)
	return i + 1;
}

/**
 * @brief: Transmit protocol from flash memory to ESP32 via UART string-by-string
 * @param sector: which sector the protocol is stored in
 */
void transmitProtocol(uint32_t sector, uint32_t offset) {
	char output[MAX_LINE_LENGTH] = { '\0' };
	uint32_t flash_address = get_sector_address(sector) + offset * PROTOCOL_SIZE;

	//printf("\nNew Protocol\n"); //just for debugging

	//we need to process up to 1028 G-code commands
	//but if we run into an invalid string, gcode file is over
	for (uint8_t i = 0; i < MAX_LINES; i++) {
		//an alternative to resetting the temp buffer is to only read up to newline
		memset(output, 0, MAX_LINE_LENGTH); // Sets all elements of buffer to 0
		if (read_from_flash(output, flash_address + i * MAX_LINE_LENGTH)) {
			printf("%s", output);
			//HAL_UART_Transmit(&huart2, (uint8_t*) output, strlen(output),
			//	HAL_MAX_DELAY);
		}
	}
}

/**
 * @brief: Queue protocol from flash memory to RAM buffer
 * @param sector: which sector the protocol is stored in
 */
void queueProtocol(uint32_t sector, uint32_t offset) {
	char output[MAX_LINE_LENGTH] = { '\0' };
	uint32_t flash_address = get_sector_address(sector) + offset * PROTOCOL_SIZE;

	for (uint8_t i = 0; i < MAX_LINES; i++) {
		memset(output, 0, MAX_LINE_LENGTH); // Sets all elements of buffer to 0
		if (read_from_flash(output, flash_address + i * MAX_LINE_LENGTH)) {
			strcpy(queueBuffer[queueSize][i], output);
		}
	}
}

/**
 * @brief: Transmit queued protocols from RAM buffer to ESP32 via UART string-by-string
 * @param queueSize:
 */
void transmitQueuedProtocols(uint8_t queueSize) {
	for (uint8_t i = 0; i < queueSize; i++) {
		for (uint8_t j = 0; j < MAX_LINES; j++) {
			printf(queueBuffer[i][j]);
			//HAL_UART_Transmit(&huart1, (uint8_t*) queueBuffer[i][j],
			//	strlen(queueBuffer[i][j]), HAL_MAX_DELAY);
		}
	}
}

/**
 * @brief: Delete protocol from flash memory to ESP32 via UART string-by-string
 * @param sector: which sector the protocol is stored in
 * @param offset: the exact slot in the sector the protocol is stored in
 * @retval: none
 */
void deleteProtocol(uint32_t sector, uint32_t offset) {
	//initialize variables
	int i = 0;  //protocol index
	int j = 0;  //line index
	char protocolStorage[MAX_PROTOCOLS_IN_SECTOR][MAX_LINES][MAX_LINE_LENGTH] =
			{ { { '\0' } } };
	uint32_t flash_address = get_sector_address(sector);
	char trashLine[MAX_LINE_LENGTH];
	memset(trashLine, 0xFF, sizeof(trashLine));
	char nullLine[MAX_LINE_LENGTH];
	memset(nullLine, 0x00, sizeof(nullLine));
	uint8_t num_protocols = get_num_protocols_in_sector(sector);

	//copy all protocols in sector to local buffer
	for (i = 0; i < num_protocols; i++) {
		for (j = 0; j < MAX_LINES; j++) {
			//get the address for the current line in the current protocol
			uint32_t temp_address = flash_address + i * PROTOCOL_SIZE
					+ j * MAX_LINE_LENGTH;
			//read lines from memory into buffer until you reach garbage
			read_from_flash(protocolStorage[i][j], temp_address); //only updates protocolStorage if its a valid line from memory
		}
	}

	//write existing protocols except the one to be deleted back to flash
	erase_sector(sector); //erase sector before writing
	HAL_FLASH_Unlock(); // Unlock flash for writing. note: the erase_sector() unlocks and locks itself
	for (i = 0; i < num_protocols; i++) {
		for (j = 0; j < MAX_LINES; j++) {
			//if first character of a line is null from qr scanner or trash from flash, ignore it
			uint32_t temp_address = flash_address + i * PROTOCOL_SIZE
					+ j * MAX_LINE_LENGTH;
			if (i != offset) {
				//printf("len: %d and data: %s", strlen(protocolStorage[i][j]), protocolStorage[i][j]);
				write_to_flash(protocolStorage[i][j], temp_address);
			}

		}
	}
	HAL_FLASH_Lock();  // Unlock flash for writing
}

// Function to write a uint32_t number to flash memory
void write_number_to_flash(uint32_t flash_address, uint32_t number) {
	HAL_FLASH_Program(FLASH_TYPEPROGRAM_WORD, flash_address, number);
}

//I name sectors from 1-14. the actual sectors are from 5-23. this functions maps them
uint32_t get_sector_address(uint32_t sector) {
	switch (sector) {
	case 1:
		return SECTOR_5;
	case 2:
		return SECTOR_6;
	case 3:
		return SECTOR_7;
	case 4:
		return SECTOR_8;
	case 5:
		return SECTOR_9;
	case 6:
		return SECTOR_10;
	case 7:
		return SECTOR_11;
	case 8:
		return SECTOR_17;
	case 9:
		return SECTOR_18;
	case 10:
		return SECTOR_19;
	case 11:
		return SECTOR_20;
	case 12:
		return SECTOR_21;
	case 13:
		return SECTOR_22;
	case 14:
		return SECTOR_23;
	default:
		break;
	}
}

uint32_t sector_mapping(uint32_t sector) {
	switch (sector) {
	case 1:
		return 5;
	case 2:
		return 6;
	case 3:
		return 7;
	case 4:
		return 8;
	case 5:
		return 9;
	case 6:
		return 10;
	case 7:
		return 11;
	case 8:
		return 17;
	case 9:
		return 18;
	case 10:
		return 19;
	case 11:
		return 20;
	case 12:
		return 21;
	case 13:
		return 22;
	case 14:
		return 23;
	}
}

/*** Touchscreen Interrupt Handler ****/
void HAL_GPIO_EXTI_Callback(uint16_t GPIO_Pin) {
	if (GPIO_Pin == T_IRQ_Pin) {
		if (XPT2046_TouchPressed()) {
			touchFlag = 1;
		}
	}
}

/* USER CODE END 4 */

void Error_Handler(void)
{
	__disable_irq();
	while (1) {
	}
}
